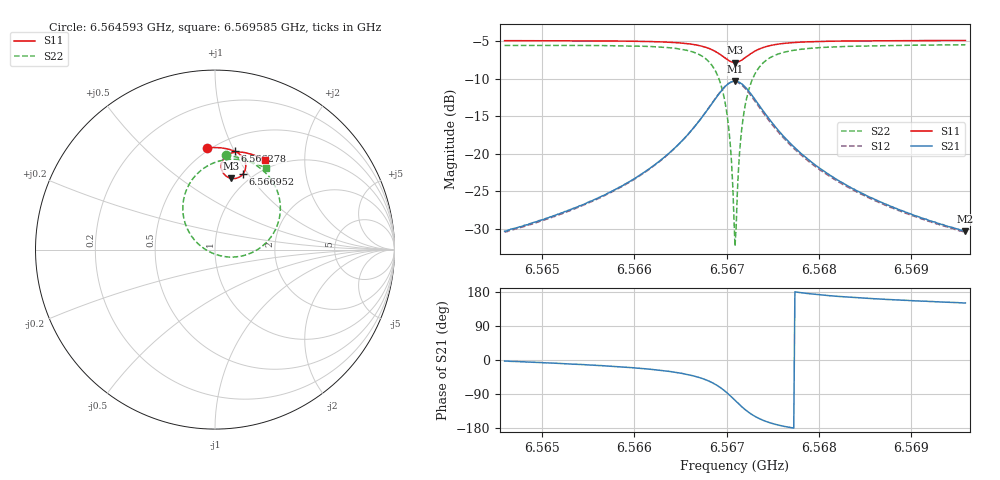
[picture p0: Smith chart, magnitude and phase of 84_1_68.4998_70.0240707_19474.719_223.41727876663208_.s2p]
#  HZ  S  RI  R  50.00
! Rohde & Schwarz Vector Network Analyzer
! Rohde-Schwarz,ZNB20-2Port,1311601062101988,3.16
! Created: UTC 3/20/2024, 4:52:16 PM
! freq[Hz]  re:S11  im:S11  re:S21  im:S21  re:S12  im:S12  re:S22  im:S22
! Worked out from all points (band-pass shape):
!   401 points, 6.564593 GHz to 6.569585 GHz, reference 50 ohm
!   highest |S21| = -10.30 dB at 6.567089 GHz (marker M1); lowest = -30.3 dB at 6.569585 GHz (marker M2)
!   |S21| within 3 dB of the highest: 6.566838 GHz to 6.567338 GHz (499.8 kHz wide, 0.00761 % of centre)
!   lowest |S11| = -7.8 dB at 6.567089 GHz (marker M3), VSWR 2.37, Z = 42.1 + j40.1 ohm
!   |S11| at or under -10 dB: nowhere
!   |S22| runs from -32.3 to -5.4 dB; largest |S21 - S12| = 0.015
!   S11 on the Smith chart (normalised r, x): 6.564593 GHz: 0.48, +0.80; 6.566278 GHz: 0.63, +1.00; 6.566952 GHz: 0.90, +0.95; 6.569585 GHz: 0.88, +1.30
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6.5645931e9  -0.0437 0.5677  0.0305 -0.00149  0.03 -0.00206  0.0593 0.5258
6.5654292e9  0.0261 0.5673  0.0446 -0.00952  0.044 -0.0102  0.1425 0.5092
6.5662654e9  0.108 0.5488  0.0795 -0.0402  0.0783 -0.0412  0.2635 0.4446
6.5662779e9  0.1094 0.5482  0.0803 -0.0411  0.0791 -0.0422  0.2659 0.4427
6.5665524e9  0.143 0.5265  0.1032 -0.0782  0.1015 -0.0799  0.3266 0.3696
6.5667521e9  0.167 0.491  0.1166 -0.1406  0.1138 -0.1437  0.3634 0.2491
6.5668644e9  0.1707 0.4557  0.1045 -0.2026  0.0991 -0.2068  0.345 0.1306
6.5669518e9  0.1563 0.4217  0.0625 -0.2611  0.0527 -0.2646  0.2664 0.0216
6.5670142e9  0.1306 0.4016  0.00444 -0.2931  -0.00862 -0.2933  0.1583 -0.0336
6.5670392e9  0.117 0.3971  -0.0246 -0.2991  -0.0385 -0.2971  0.105 -0.0414
6.5670766e9  0.0948 0.396  -0.0709 -0.2969  -0.0848 -0.2914  0.0223 -0.0326
6.5670891e9  0.0874 0.3974  -0.0861 -0.2933  -0.0998 -0.2864  -0.00451 -0.0239
6.5671016e9  0.0801 0.3995  -0.1011 -0.2881  -0.1139 -0.28  -0.0302 -0.0125
6.5671141e9  0.0732 0.4024  -0.1152 -0.2815  -0.1275 -0.2723  -0.0543 0.00128
6.567139e9  0.0606 0.4103  -0.1407 -0.2647  -0.1513 -0.2535  -0.0967 0.0349
6.5671765e9  0.0463 0.4259  -0.1706 -0.2326  -0.178 -0.2199  -0.1437 0.0955
6.5672264e9  0.0363 0.4496  -0.1928 -0.1857  -0.1962 -0.1726  -0.1749 0.1809
6.5672888e9  0.0359 0.4773  -0.1988 -0.1321  -0.1983 -0.1208  -0.1755 0.2749
6.5675134e9  0.0738 0.5294  -0.1523 -0.0298  -0.1487 -0.0251  -0.0713 0.447
6.5679253e9  0.1368 0.5436  -0.0871 0.00903  -0.085 0.0104  0.0721 0.5023
6.5687614e9  0.2185 0.5258  -0.0424 0.0158  -0.0414 0.0162  0.2045 0.487
6.5695851e9  0.281 0.4971  -0.0266 0.015  -0.0259 0.0152  0.2815 0.4541
